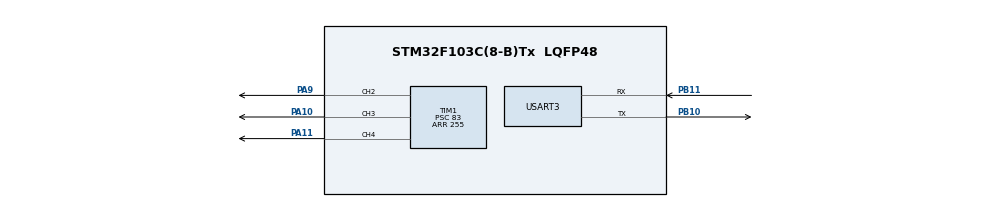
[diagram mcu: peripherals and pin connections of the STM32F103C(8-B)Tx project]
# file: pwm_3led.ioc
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Dma.Request0=USART3_RX
Dma.USART3_RX.0.Direction=DMA_PERIPH_TO_MEMORY
Dma.USART3_RX.0.Instance=DMA1_Channel3
Dma.USART3_RX.0.MemDataAlignment=DMA_MDATAALIGN_BYTE
Dma.USART3_RX.0.MemInc=DMA_MINC_ENABLE
Dma.USART3_RX.0.Mode=DMA_NORMAL
Dma.USART3_RX.0.PeriphDataAlignment=DMA_PDATAALIGN_BYTE
Dma.USART3_RX.0.PeriphInc=DMA_PINC_DISABLE
Dma.USART3_RX.0.Priority=DMA_PRIORITY_LOW
Mcu.Family=STM32F1
Mcu.Name=STM32F103C(8-B)Tx
Mcu.Package=LQFP48
NVIC.DMA1_Channel3_IRQn=true\:0\:0\:false\:false\:true\:false\:true\:true
NVIC.PriorityGroup=NVIC_PRIORITYGROUP_4
NVIC.USART3_IRQn=true\:0\:0\:false\:false\:true\:true\:true\:true
PA10.Signal=S_TIM1_CH3
PA11.Signal=S_TIM1_CH4
PA13.Mode=Serial_Wire
PA13.Signal=SYS_JTMS-SWDIO
PA14.Mode=Serial_Wire
PA14.Signal=SYS_JTCK-SWCLK
PA9.Signal=S_TIM1_CH2
PB10.Mode=Asynchronous
PB10.Signal=USART3_TX
PB11.Mode=Asynchronous
PB11.Signal=USART3_RX
PD0-OSC_IN.Mode=HSE-External-Oscillator
PD0-OSC_IN.Signal=RCC_OSC_IN
PD1-OSC_OUT.Mode=HSE-External-Oscillator
PD1-OSC_OUT.Signal=RCC_OSC_OUT
ProjectManager.HeapSize=0x200
ProjectManager.StackSize=0x400
ProjectManager.TargetToolchain=STM32CubeIDE
RCC.APB1Freq_Value=8000000
RCC.APB2Freq_Value=8000000
SH.S_TIM1_CH2.0=TIM1_CH2,PWM Generation2 CH2
SH.S_TIM1_CH3.0=TIM1_CH3,PWM Generation3 CH3
SH.S_TIM1_CH4.0=TIM1_CH4,PWM Generation4 CH4
TIM1.Channel-PWM\ Generation2\ CH2=TIM_CHANNEL_2
TIM1.Channel-PWM\ Generation3\ CH3=TIM_CHANNEL_3
TIM1.Channel-PWM\ Generation4\ CH4=TIM_CHANNEL_4
TIM1.Period=255
TIM1.Prescaler=83
USART3.VirtualMode=VM_ASYNC
board=custom

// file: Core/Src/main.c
/* USER CODE BEGIN Header */
/**
  ******************************************************************************
  * @file           : main.c
  * @brief          : Main program body
  ******************************************************************************
  * @attention
  *
  * Copyright (c) 2026 STMicroelectronics.
  * All rights reserved.
  *
  * This software is licensed under terms that can be found in the LICENSE file
  * in the root directory of this software component.
  * If no LICENSE file comes with this software, it is provided AS-IS.
  *
  ******************************************************************************
  */
/* USER CODE END Header */
#include "main.h"

/* USER CODE BEGIN Includes */
#include "my_lib/led_ctrl.h"
#include "my_lib/ringbuf.h"
#include "my_lib/dma_idle.h"
/* USER CODE END Includes */

/* USER CODE BEGIN PD */
#define DMA_CTRL
/* USER CODE END PD */

TIM_HandleTypeDef htim1;

UART_HandleTypeDef huart3;
DMA_HandleTypeDef hdma_usart3_rx;

/* USER CODE BEGIN PV */
Led_Ctrl ledCtrl;
RingBuffer_t rb;
uint8_t rx;

/* USER CODE END PV */

void SystemClock_Config(void);
static void MX_GPIO_Init(void);
static void MX_DMA_Init(void);
static void MX_TIM1_Init(void);
static void MX_USART3_UART_Init(void);

int main(void)
{

  /* MCU Configuration--------------------------------------------------------*/

  /* Reset of all peripherals, Initializes the Flash interface and the Systick. */
  HAL_Init();

  /* Configure the system clock */
  SystemClock_Config();

  /* Initialize all configured peripherals */
  MX_GPIO_Init();
  MX_DMA_Init();
  MX_TIM1_Init();
  MX_USART3_UART_Init();
  /* USER CODE BEGIN 2 */
  HAL_TIM_PWM_Start(&htim1, TIM_CHANNEL_2);
  HAL_TIM_PWM_Start(&htim1, TIM_CHANNEL_3);
  HAL_TIM_PWM_Start(&htim1, TIM_CHANNEL_4);

//  HAL_UART_Receive_IT(&huart3, &ledCtrl.rx, 1);
//  HAL_UART_Receive_DMA(&huart3, &ledCtrl.rxBuf, rx);
  RB_Init(&rb);
  LedCtrl_Init(&ledCtrl, &huart3, &htim1);
  DMA_IDLE_Init(&huart3);
  /* USER CODE END 2 */

  /* Infinite loop */
  /* USER CODE BEGIN WHILE */
  while (1)
  {
//	  DMA_Ctrl(&huart3, &rb);
//	  uint8_t b;
//	  while(!RB_Empty(&rb))
//	  {
//		  RB_Pop(&rb, &b);
//		  LedCtrl_FeedByte(&ledCtrl, b);
//
//		  if (ledCtrl.needPrint > 0)
//		  {
//		    __disable_irq();
//		    ledCtrl.needPrint--;
//		    __enable_irq();
//
//		    char msg[] = "hello\r\n";
//		    HAL_UART_Transmit(&huart3, (uint8_t*)msg, sizeof(msg)-1, 100);
//		  }
//   	}

    /* USER CODE END WHILE */

  }
}

void SystemClock_Config(void)
{
  RCC_OscInitTypeDef RCC_OscInitStruct = {0};
  RCC_ClkInitTypeDef RCC_ClkInitStruct = {0};

  /** Initializes the RCC Oscillators according to the specified parameters
  * in the RCC_OscInitTypeDef structure.
  */
  RCC_OscInitStruct.OscillatorType = RCC_OSCILLATORTYPE_HSI;
  RCC_OscInitStruct.HSIState = RCC_HSI_ON;
  RCC_OscInitStruct.HSICalibrationValue = RCC_HSICALIBRATION_DEFAULT;
  RCC_OscInitStruct.PLL.PLLState = RCC_PLL_NONE;
  if (HAL_RCC_OscConfig(&RCC_OscInitStruct) != HAL_OK)
  {
    Error_Handler();
  }

  /** Initializes the CPU, AHB and APB buses clocks
  */
  RCC_ClkInitStruct.ClockType = RCC_CLOCKTYPE_HCLK|RCC_CLOCKTYPE_SYSCLK
                              |RCC_CLOCKTYPE_PCLK1|RCC_CLOCKTYPE_PCLK2;
  RCC_ClkInitStruct.SYSCLKSource = RCC_SYSCLKSOURCE_HSI;
  RCC_ClkInitStruct.AHBCLKDivider = RCC_SYSCLK_DIV1;
  RCC_ClkInitStruct.APB1CLKDivider = RCC_HCLK_DIV1;
  RCC_ClkInitStruct.APB2CLKDivider = RCC_HCLK_DIV1;

  if (HAL_RCC_ClockConfig(&RCC_ClkInitStruct, FLASH_LATENCY_0) != HAL_OK)
  {
    Error_Handler();
  }
}

static void MX_TIM1_Init(void)
{

  TIM_MasterConfigTypeDef sMasterConfig = {0};
  TIM_OC_InitTypeDef sConfigOC = {0};
  TIM_BreakDeadTimeConfigTypeDef sBreakDeadTimeConfig = {0};

  htim1.Instance = TIM1;
  htim1.Init.Prescaler = 83;
  htim1.Init.CounterMode = TIM_COUNTERMODE_UP;
  htim1.Init.Period = 255;
  htim1.Init.ClockDivision = TIM_CLOCKDIVISION_DIV1;
  htim1.Init.RepetitionCounter = 0;
  htim1.Init.AutoReloadPreload = TIM_AUTORELOAD_PRELOAD_DISABLE;
  if (HAL_TIM_PWM_Init(&htim1) != HAL_OK)
  {
    Error_Handler();
  }
  sMasterConfig.MasterOutputTrigger = TIM_TRGO_RESET;
  sMasterConfig.MasterSlaveMode = TIM_MASTERSLAVEMODE_DISABLE;
  if (HAL_TIMEx_MasterConfigSynchronization(&htim1, &sMasterConfig) != HAL_OK)
  {
    Error_Handler();
  }
  sConfigOC.OCMode = TIM_OCMODE_PWM1;
  sConfigOC.Pulse = 0;
  sConfigOC.OCPolarity = TIM_OCPOLARITY_HIGH;
  sConfigOC.OCNPolarity = TIM_OCNPOLARITY_HIGH;
  sConfigOC.OCFastMode = TIM_OCFAST_DISABLE;
  sConfigOC.OCIdleState = TIM_OCIDLESTATE_RESET;
  sConfigOC.OCNIdleState = TIM_OCNIDLESTATE_RESET;
  if (HAL_TIM_PWM_ConfigChannel(&htim1, &sConfigOC, TIM_CHANNEL_2) != HAL_OK)
  {
    Error_Handler();
  }
  if (HAL_TIM_PWM_ConfigChannel(&htim1, &sConfigOC, TIM_CHANNEL_3) != HAL_OK)
  {
    Error_Handler();
  }
  if (HAL_TIM_PWM_ConfigChannel(&htim1, &sConfigOC, TIM_CHANNEL_4) != HAL_OK)
  {
    Error_Handler();
  }
  sBreakDeadTimeConfig.OffStateRunMode = TIM_OSSR_DISABLE;
  sBreakDeadTimeConfig.OffStateIDLEMode = TIM_OSSI_DISABLE;
  sBreakDeadTimeConfig.LockLevel = TIM_LOCKLEVEL_OFF;
  sBreakDeadTimeConfig.DeadTime = 0;
  sBreakDeadTimeConfig.BreakState = TIM_BREAK_DISABLE;
  sBreakDeadTimeConfig.BreakPolarity = TIM_BREAKPOLARITY_HIGH;
  sBreakDeadTimeConfig.AutomaticOutput = TIM_AUTOMATICOUTPUT_DISABLE;
  if (HAL_TIMEx_ConfigBreakDeadTime(&htim1, &sBreakDeadTimeConfig) != HAL_OK)
  {
    Error_Handler();
  }
  HAL_TIM_MspPostInit(&htim1);

}

static void MX_USART3_UART_Init(void)
{

  huart3.Instance = USART3;
  huart3.Init.BaudRate = 115200;
  huart3.Init.WordLength = UART_WORDLENGTH_8B;
  huart3.Init.StopBits = UART_STOPBITS_1;
  huart3.Init.Parity = UART_PARITY_NONE;
  huart3.Init.Mode = UART_MODE_TX_RX;
  huart3.Init.HwFlowCtl = UART_HWCONTROL_NONE;
  huart3.Init.OverSampling = UART_OVERSAMPLING_16;
  if (HAL_UART_Init(&huart3) != HAL_OK)
  {
    Error_Handler();
  }

}

static void MX_DMA_Init(void)
{

  /* DMA controller clock enable */
  __HAL_RCC_DMA1_CLK_ENABLE();

  /* DMA interrupt init */
  /* DMA1_Channel3_IRQn interrupt configuration */
  HAL_NVIC_SetPriority(DMA1_Channel3_IRQn, 0, 0);
  HAL_NVIC_EnableIRQ(DMA1_Channel3_IRQn);

}

static void MX_GPIO_Init(void)
{

  /* GPIO Ports Clock Enable */
  __HAL_RCC_GPIOD_CLK_ENABLE();
  __HAL_RCC_GPIOB_CLK_ENABLE();
  __HAL_RCC_GPIOA_CLK_ENABLE();

}

/* USER CODE BEGIN 4 */
#ifndef DMA_CTRL
void HAL_UART_RxCpltCallback(UART_HandleTypeDef *huart)
{
	LedCtrl_UartRxCpltCallback(&ledCtrl, huart);
}
#endif
/* USER CODE END 4 */

void Error_Handler(void)
{
  __disable_irq();
  while (1)
  {
  }
}
